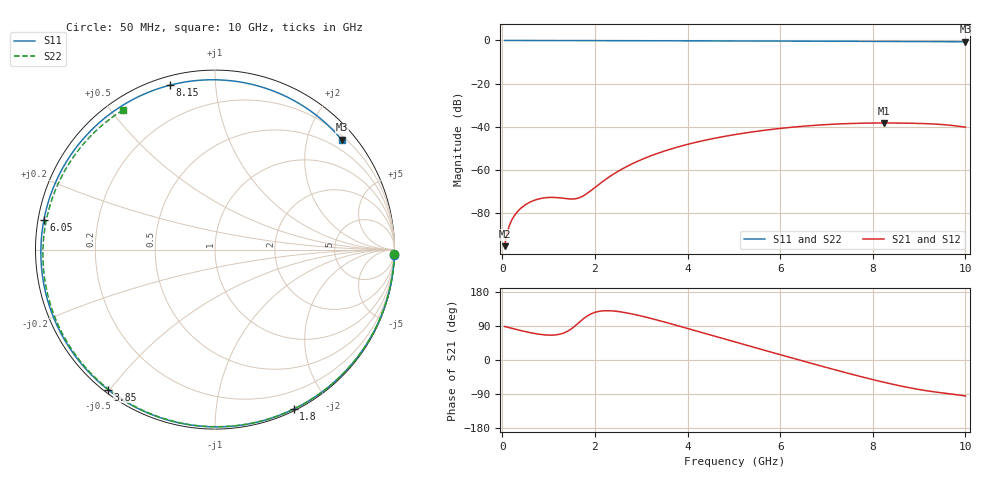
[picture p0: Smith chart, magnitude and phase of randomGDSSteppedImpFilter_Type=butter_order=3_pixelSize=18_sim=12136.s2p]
! freq	dB(S11)	phase(S11)	dB(S12)	phase(S12)
!  dB(S21)	phase(S21)	dB(S22)	phase(S22)
!S-par simulation data
#  GHz  S  DB  R 50
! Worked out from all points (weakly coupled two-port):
!   200 points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, 50 MHz to 10 GHz, reference 50 ohm
!   highest |S21| = -38.27 dB at 8.25 GHz (marker M1); lowest = -95.4 dB at 50 MHz (marker M2)
!   lowest |S11| = -0.6 dB at 10 GHz (marker M3), VSWR 29.39, Z = 13.8 + j132 ohm
!   |S11| at or under -10 dB: nowhere
!   |S22| runs from -0.6 to 0.0 dB; largest |S21 - S12| = 0
!   S11 on the Smith chart (normalised r, x): 50 MHz: 0, -62; 1.8 GHz: 0.02, -1.61; 3.85 GHz: 0.01, -0.49; 6.05 GHz: 0.02, +0.09; 8.15 GHz: 0.04, +0.76; 10 GHz: 0.28, +2.65
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0.05  -0.00 -1.9  -95.41 88.4  -95.41 88.4  -0.00 -1.4
0.3  -0.01 -11.0  -80.11 80.7  -80.11 80.7  -0.01 -8.4
0.5  -0.02 -18.2  -76.19 74.9  -76.19 74.9  -0.02 -13.9
0.8  -0.04 -29.0  -73.43 67.9  -73.43 67.9  -0.03 -22.2
1.05  -0.05 -37.9  -72.78 65.6  -72.78 65.6  -0.04 -29.0
1.55  -0.07 -55.3  -73.49 87.7  -73.49 87.7  -0.05 -42.4
1.75  -0.08 -62.1  -72.06 108.7  -72.06 108.7  -0.06 -47.7
1.8  -0.08 -63.8  -71.40 113.3  -71.40 113.3  -0.06 -49.0
2.55  -0.11 -88.2  -60.07 127.2  -60.07 127.2  -0.09 -68.2
3.4  -0.14 -114.2  -52.01 103.6  -52.01 103.6  -0.11 -88.8
3.85  -0.16 -127.4  -49.04 88.4  -49.04 88.4  -0.13 -99.3
4.45  -0.19 -144.5  -45.94 67.6  -45.94 67.6  -0.16 -112.9
5.05  -0.22 -161.5  -43.55 46.7  -43.55 46.7  -0.18 -126.0
5.55  -0.25 -175.6  -41.97 29.5  -41.97 29.5  -0.21 -136.7
6.05  -0.29 170.2  -40.69 12.4  -40.69 12.4  -0.24 -147.3
6.7  -0.33 151.1  -39.44 -9.7  -39.44 -9.7  -0.29 -161.1
7.5  -0.40 126.5  -38.53 -36.2  -38.53 -36.2  -0.36 -178.2
8.15  -0.45 105.4  -38.28 -56.1  -38.28 -56.1  -0.42 167.6
8.25  -0.45 102.1  -38.27 -59.0  -38.27 -59.0  -0.43 165.3
8.35  -0.46 98.7  -38.27 -61.8  -38.27 -61.8  -0.44 163.1
9.15  -0.52 71.1  -38.59 -80.9  -38.59 -80.9  -0.52 144.5
10  -0.59 41.0  -40.19 -95.0  -40.19 -95.0  -0.62 123.4
